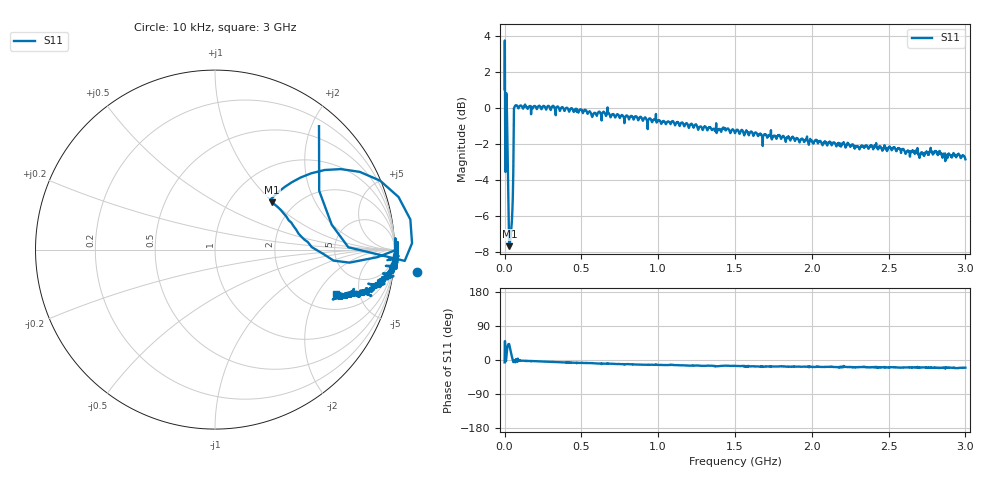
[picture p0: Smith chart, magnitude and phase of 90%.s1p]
# HZ S RI R 50
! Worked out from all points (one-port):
!   2020 points, 10 kHz to 3 GHz, reference 50 ohm
!   lowest |S11| = -7.7 dB at 31.21 MHz (marker M1), VSWR 2.41, Z = 77.8 + j49.3 ohm
!   |S11| at or under -10 dB: nowhere
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10000  1.123 -0.1238
5953516  0.6504 0.1385
1.635467e7  0.8069 0.433
1.784055e7  0.7014 0.4485
1.932643e7  0.611 0.4435
2.378406e7  0.4275 0.375
2.675582e7  0.3563 0.3238
3.121346e7  0.3188 0.2629
3.715698e7  0.3825 0.2016
4.310049e7  0.4384 0.1297
5.350164e7  0.5681 -0.00332
6.39028e7  1.007 -0.0214
7.133219e7  1.017 0.00687
7.578983e7  1.018 0.0419
3.759374e8  1.002 -0.1087
7.503789e8  0.9227 -0.1736
1.126306e9  0.8903 -0.2133
1.291239e9  0.8415 -0.232
1.334329e9  0.853 -0.2321
1.383363e9  0.8258 -0.2445
1.433883e9  0.8513 -0.2269
1.500748e9  0.8218 -0.229
1.676082e9  0.7997 -0.246
1.875189e9  0.792 -0.2517
2.251117e9  0.7429 -0.2469
2.625558e9  0.7178 -0.254
2.945022e9  0.6871 -0.2706
3e9  0.6766 -0.2491
